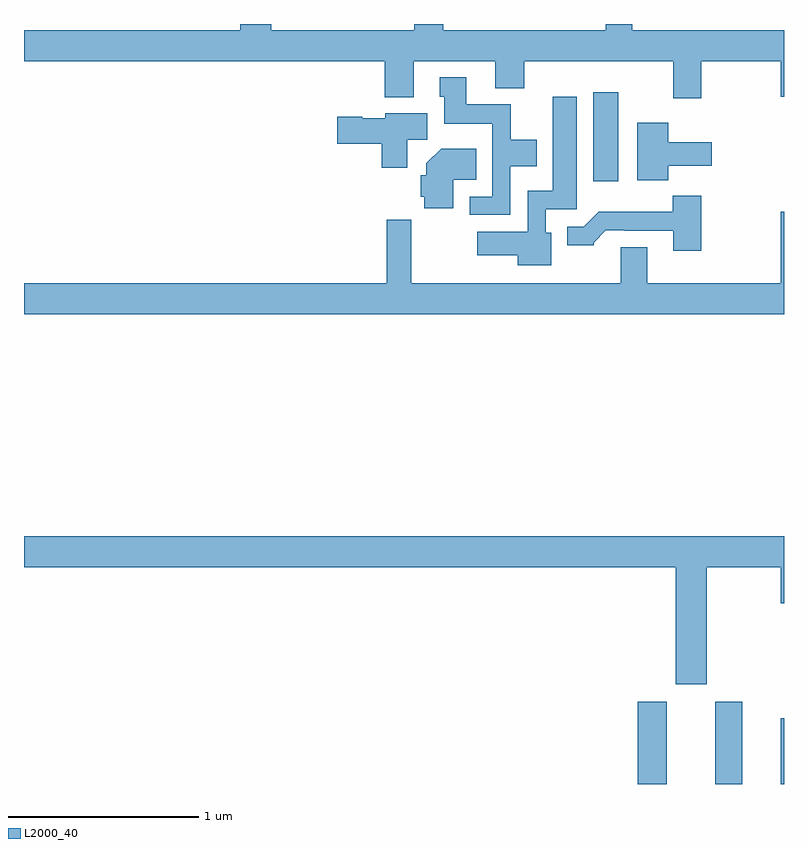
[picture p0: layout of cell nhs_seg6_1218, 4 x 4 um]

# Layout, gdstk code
import gdstk
lib = gdstk.Library(unit=1e-6, precision=1e-09)
def R(c, l, rs):  # rectangles x0, y0, x1, y1
    for r in rs: c.add(gdstk.rectangle(r[:2], r[2:], *l))
def P(c, l, *ps):  # polygons
    for p in ps: c.add(gdstk.Polygon(p, *l))
L2000_40 = (2000, 40)

nhs_seg6_1218 = lib.new_cell('nhs_seg6_1218')
R(nhs_seg6_1218, L2000_40, [(188.231,975.5,188.383,975.934), (188.639,975.5,188.779,975.934), (188.984,975.5,189,975.847), (187.997,978.672,188.128,979.141)])
P(nhs_seg6_1218, L2000_40, [(188.565,979.304),(188.984,979.304),(188.984,979.116),(189,979.116),(189,979.468),(188.202,979.468),(188.202,979.5),(188.063,979.5),(188.063,979.468),(187.207,979.468),(187.207,979.5),(187.055,979.5),(187.055,979.468),(186.302,979.468),(186.302,979.5),(186.137,979.5),(186.137,979.468),(185,979.468),(185,979.304),(186.899,979.304),(186.899,979.115),(187.051,979.115),(187.051,979.304),(187.481,979.304),(187.481,979.163),(187.634,979.163),(187.634,979.304),(188.417,979.304),(188.417,979.11),(188.565,979.11)],
  [(187.56,978.752),(187.699,978.752),(187.699,978.892),(187.563,978.892),(187.563,979.078),(187.327,979.078),(187.327,979.219),(187.187,979.219),(187.187,979.116),(187.211,979.116),(187.211,978.974),(187.464,978.974),(187.464,978.591),(187.347,978.591),(187.347,978.495),(187.56,978.495)],
  [(187.774,978.402),(187.746,978.402),(187.746,978.525),(187.909,978.525),(187.909,979.117),(187.784,979.117),(187.784,978.622),(187.65,978.622),(187.65,978.406),(187.386,978.406),(187.386,978.284),(187.598,978.284),(187.598,978.23),(187.774,978.23)],
  [(187.017,978.892),(187.123,978.892),(187.123,979.03),(186.9,979.03),(186.9,979.003),(186.78,979.003),(186.78,979.011),(186.648,979.011),(186.648,978.869),(186.884,978.869),(186.884,978.744),(187.017,978.744)],
  [(188.39,978.755),(188.62,978.755),(188.62,978.877),(188.392,978.877),(188.392,978.979),(188.228,978.979),(188.228,978.677),(188.39,978.677)],
  [(187.258,978.68),(187.379,978.68),(187.379,978.844),(187.196,978.844),(187.118,978.766),(187.118,978.705),(187.089,978.705),(187.089,978.591),(187.106,978.591),(187.106,978.53),(187.258,978.53)],
  [(188.565,978.595),(188.415,978.595),(188.415,978.511),(188.026,978.511),(187.947,978.432),(187.859,978.432),(187.859,978.335),(187.998,978.335),(187.998,978.35),(188.062,978.414),(188.161,978.414),(188.161,978.411),(188.417,978.411),(188.417,978.306),(188.565,978.306)],
  [(189,978.511),(188.984,978.511),(188.984,978.136),(188.281,978.136),(188.281,978.326),(188.141,978.326),(188.141,978.136),(187.039,978.136),(187.039,978.469),(186.91,978.469),(186.91,978.136),(185,978.136),(185,977.972),(189,977.972)],
  [(188.593,976.64),(188.984,976.64),(188.984,976.452),(189,976.452),(189,976.804),(185,976.804),(185,976.64),(188.429,976.64),(188.429,976.026),(188.593,976.026)])

lib.write_gds('nhs_seg6_1218.gds')
